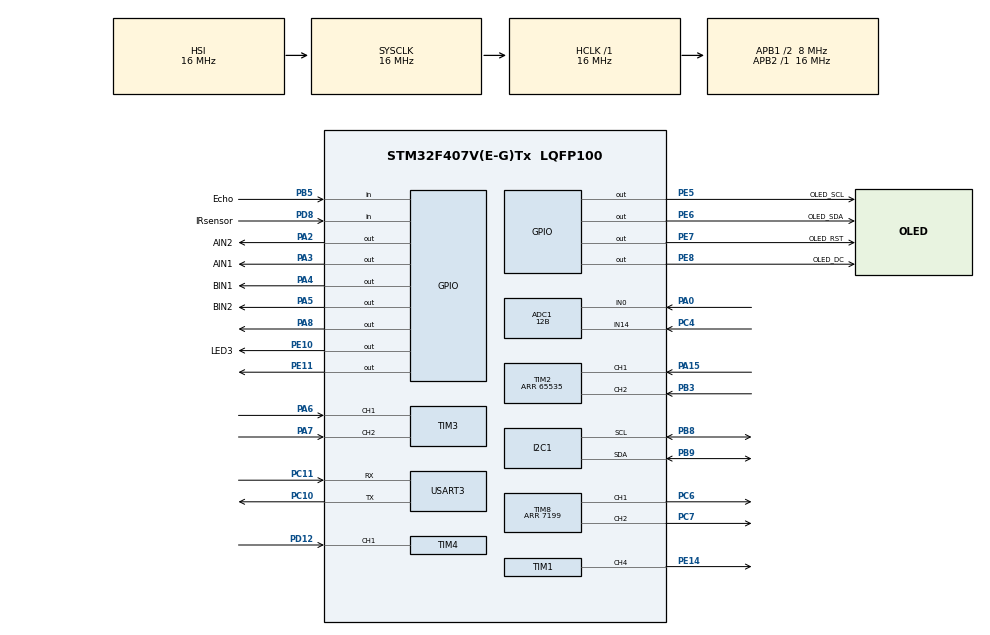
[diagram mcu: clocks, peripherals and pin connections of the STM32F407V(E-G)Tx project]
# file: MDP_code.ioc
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ADC1.Channel-0\#ChannelRegularConversion=ADC_CHANNEL_14
ADC1.ContinuousConvMode=DISABLE
ADC1.DMAContinuousRequests=DISABLE
ADC1.NbrOfConversionFlag=1
ADC1.Rank-0\#ChannelRegularConversion=1
ADC1.Resolution=ADC_RESOLUTION_12B
ADC1.SamplingTime-0\#ChannelRegularConversion=ADC_SAMPLETIME_3CYCLES
ADC1.master=1
Dma.ADC1.0.Direction=DMA_PERIPH_TO_MEMORY
Dma.ADC1.0.FIFOMode=DMA_FIFOMODE_DISABLE
Dma.ADC1.0.Instance=DMA2_Stream0
Dma.ADC1.0.MemDataAlignment=DMA_MDATAALIGN_HALFWORD
Dma.ADC1.0.MemInc=DMA_MINC_ENABLE
Dma.ADC1.0.Mode=DMA_CIRCULAR
Dma.ADC1.0.PeriphDataAlignment=DMA_PDATAALIGN_HALFWORD
Dma.ADC1.0.PeriphInc=DMA_PINC_DISABLE
Dma.ADC1.0.Priority=DMA_PRIORITY_LOW
Dma.Request0=ADC1
FREERTOS.Tasks01=defaultTask,24,128,StartDefaultTask,Default,NULL,Dynamic,NULL,NULL;EncoderTask,24,128,encoder_task,Default,NULL,Dynamic,NULL,NULL;MotorTask,24,128,motorTask,Default,NULL,Dynamic,NULL,NULL;GyroTask,24,128,gyroTask,Default,NULL,Dynamic,NULL,NULL;UltrasoundTask,24,128,ultrasoundTask,Default,NULL,Dynamic,NULL,NULL
I2C1.I2C_Mode=I2C_Standard
I2C1.OwnAddress=0
Mcu.Family=STM32F4
Mcu.Name=STM32F407V(E-G)Tx
Mcu.Package=LQFP100
NVIC.DMA2_Stream0_IRQn=true\:5\:0\:false\:false\:true\:true\:false\:true\:true
NVIC.PriorityGroup=NVIC_PRIORITYGROUP_4
NVIC.TIM1_UP_TIM10_IRQn=true\:5\:0\:false\:false\:true\:false\:false\:true\:true
NVIC.TIM4_IRQn=true\:5\:0\:false\:false\:true\:true\:true\:true\:true
NVIC.TIM6_DAC_IRQn=true\:15\:0\:false\:false\:true\:false\:false\:true\:true
NVIC.TimeBase=TIM6_DAC_IRQn
NVIC.TimeBaseIP=TIM6
NVIC.USART3_IRQn=true\:5\:0\:false\:false\:true\:true\:true\:true\:true
PA0-WKUP.Signal=ADCx_IN0
PA15.Signal=S_TIM2_CH1_ETR
PA2.GPIO_Label=AIN2
PA2.GPIO_Speed=GPIO_SPEED_FREQ_HIGH
PA2.Signal=GPIO_Output
PA3.GPIO_Label=AIN1
PA3.GPIO_Speed=GPIO_SPEED_FREQ_HIGH
PA3.Signal=GPIO_Output
PA4.GPIO_Label=BIN1
PA4.GPIO_Speed=GPIO_SPEED_FREQ_HIGH
PA4.Signal=GPIO_Output
PA5.GPIO_Label=BIN2
PA5.GPIO_Speed=GPIO_SPEED_FREQ_HIGH
PA5.Signal=GPIO_Output
PA6.Signal=S_TIM3_CH1
PA7.Signal=S_TIM3_CH2
PA8.GPIO_Speed=GPIO_SPEED_FREQ_HIGH
PA8.Signal=GPIO_Output
PB3.Signal=S_TIM2_CH2
PB5.GPIO_Label=Echo
PB5.Signal=GPIO_Input
PB8.GPIO_Pu=GPIO_NOPULL
PB8.Mode=I2C
PB8.Signal=I2C1_SCL
PB9.GPIO_Pu=GPIO_NOPULL
PB9.Mode=I2C
PB9.Signal=I2C1_SDA
PC10.Mode=Asynchronous
PC10.Signal=USART3_TX
PC11.Mode=Asynchronous
PC11.Signal=USART3_RX
PC4.Signal=ADCx_IN14
PC6.Signal=S_TIM8_CH1
PC7.Signal=S_TIM8_CH2
PD12.Signal=S_TIM4_CH1
PD14.Signal=S_TIM4_CH3
PD8.GPIO_Label=IRsensor
PD8.Signal=GPIO_Input
PE10.GPIO_Label=LED3
PE10.Signal=GPIO_Output
PE11.GPIO_Speed=GPIO_SPEED_FREQ_VERY_HIGH
PE11.Signal=GPIO_Output
PE14.GPIO_Speed=GPIO_SPEED_FREQ_VERY_HIGH
PE14.Signal=S_TIM1_CH4
PE5.GPIO_Label=OLED_SCL
PE5.Signal=GPIO_Output
PE6.GPIO_Label=OLED_SDA
PE6.Signal=GPIO_Output
PE7.GPIO_Label=OLED_RST
PE7.Signal=GPIO_Output
PE8.GPIO_Label=OLED_DC
PE8.Signal=GPIO_Output
PH0-OSC_IN.Mode=HSE-External-Oscillator
PH0-OSC_IN.Signal=RCC_OSC_IN
PH1-OSC_OUT.Mode=HSE-External-Oscillator
PH1-OSC_OUT.Signal=RCC_OSC_OUT
ProjectManager.HeapSize=0x200
ProjectManager.StackSize=0x400
ProjectManager.TargetToolchain=STM32CubeIDE
RCC.48MHZClocksFreq_Value=36000000
RCC.AHBFreq_Value=16000000
RCC.APB1CLKDivider=RCC_HCLK_DIV2
RCC.APB1Freq_Value=8000000
RCC.APB1TimFreq_Value=16000000
RCC.APB2Freq_Value=16000000
RCC.APB2TimFreq_Value=16000000
RCC.CortexFreq_Value=16000000
RCC.FLatency-AdvancedSettings=FLASH_LATENCY_0
RCC.HCLKFreq_Value=16000000
RCC.HSE_VALUE=8000000
RCC.HSI_VALUE=16000000
RCC.LSE_VALUE=32768
RCC.PLLM=8
RCC.PLLN=72
RCC.SYSCLKFreq_VALUE=16000000
RCC.VCOOutputFreq_Value=144000000
SH.ADCx_IN0.0=ADC1_IN0,IN0
SH.ADCx_IN14.0=ADC1_IN14,IN14
SH.S_TIM1_CH4.0=TIM1_CH4,PWM Generation4 CH4
SH.S_TIM2_CH1_ETR.0=TIM2_CH1,Encoder_Interface
SH.S_TIM2_CH2.0=TIM2_CH2,Encoder_Interface
SH.S_TIM3_CH1.0=TIM3_CH1,Encoder_Interface
SH.S_TIM3_CH2.0=TIM3_CH2,Encoder_Interface
SH.S_TIM4_CH1.0=TIM4_CH1,Input_Capture1_from_TI1
SH.S_TIM4_CH3.0=TIM4_CH3
SH.S_TIM8_CH1.0=TIM8_CH1,PWM Generation1 CH1
SH.S_TIM8_CH2.0=TIM8_CH2,PWM Generation2 CH2
TIM1.AutoReloadPreload=TIM_AUTORELOAD_PRELOAD_ENABLE
TIM1.Channel-PWM\ Generation4\ CH4=TIM_CHANNEL_4
TIM1.OCFastMode_PWM-PWM\ Generation4\ CH4=TIM_OCFAST_ENABLE
TIM1.Period=1000
TIM1.Prescaler=160
TIM2.EncoderMode=TIM_ENCODERMODE_TI12
TIM2.IC1Filter=0
TIM2.IC2Filter=0
TIM2.Period=65535
TIM3.EncoderMode=TIM_ENCODERMODE_TI12
TIM3.IC1Filter=0
TIM3.IC2Filter=0
TIM4.AutoReloadPreload=TIM_AUTORELOAD_PRELOAD_DISABLE
TIM4.Channel-Input_Capture1_from_TI1=TIM_CHANNEL_1
TIM4.Period=0xffff-1
TIM4.Prescaler=16-1
TIM8.Channel-PWM\ Generation1\ CH1=TIM_CHANNEL_1
TIM8.Channel-PWM\ Generation2\ CH2=TIM_CHANNEL_2
TIM8.Period=7199
USART3.VirtualMode=VM_ASYNC
VP_FREERTOS_VS_CMSIS_V2.Mode=CMSIS_V2
VP_SYS_VS_tim6.Mode=TIM6
VP_TIM1_VS_ClockSourceINT.Mode=Internal
VP_TIM4_VS_ClockSourceINT.Mode=Internal
VP_TIM8_VS_ClockSourceINT.Mode=Internal
board=custom

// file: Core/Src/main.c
/* USER CODE BEGIN Header */
/**
  ******************************************************************************
  * @file           : main.c
  * @brief          : Main program body
  ******************************************************************************
  * @attentiontdxdt6xdrd
  *
  * Copyright (c) 2022 STMicroelectronics.
  * All rights reserved.
  *
  * This software is licensed under terms that can be found in the LICENSE file
  * in the root directory of this software component.
  * If no LICENSE file comes with this software, it is provided AS-IS.
  *
  ******************************************************************************
  */
/* USER CODE END Header */
#include "main.h"
#include "cmsis_os.h"

/* USER CODE BEGIN Includes */
#include "oled.h"

/* USER CODE END Includes */

ADC_HandleTypeDef hadc1;
DMA_HandleTypeDef hdma_adc1;

I2C_HandleTypeDef hi2c1;

TIM_HandleTypeDef htim1;
TIM_HandleTypeDef htim2;
TIM_HandleTypeDef htim3;
TIM_HandleTypeDef htim4;
TIM_HandleTypeDef htim8;

UART_HandleTypeDef huart3;

/* Definitions for defaultTask */
osThreadId_t defaultTaskHandle;
const osThreadAttr_t defaultTask_attributes = {
  .name = "defaultTask",
  .stack_size = 128 * 4,
  .priority = (osPriority_t) osPriorityNormal,
};
/* Definitions for EncoderTask */
osThreadId_t EncoderTaskHandle;
const osThreadAttr_t EncoderTask_attributes = {
  .name = "EncoderTask",
  .stack_size = 128 * 4,
  .priority = (osPriority_t) osPriorityNormal,
};
/* Definitions for MotorTask */
osThreadId_t MotorTaskHandle;
const osThreadAttr_t MotorTask_attributes = {
  .name = "MotorTask",
  .stack_size = 128 * 4,
  .priority = (osPriority_t) osPriorityNormal,
};
/* Definitions for GyroTask */
osThreadId_t GyroTaskHandle;
const osThreadAttr_t GyroTask_attributes = {
  .name = "GyroTask",
  .stack_size = 128 * 4,
  .priority = (osPriority_t) osPriorityNormal,
};
/* Definitions for UltrasoundTask */
osThreadId_t UltrasoundTaskHandle;
const osThreadAttr_t UltrasoundTask_attributes = {
  .name = "UltrasoundTask",
  .stack_size = 128 * 4,
  .priority = (osPriority_t) osPriorityNormal,
};

void SystemClock_Config(void);
static void MX_GPIO_Init(void);
static void MX_TIM8_Init(void);
static void MX_TIM2_Init(void);
static void MX_TIM1_Init(void);
static void MX_USART3_UART_Init(void);
static void MX_TIM3_Init(void);
static void MX_TIM4_Init(void);
static void MX_I2C1_Init(void);
static void MX_DMA_Init(void);
static void MX_ADC1_Init(void);
void StartDefaultTask(void *argument);
void encoder_task(void *argument);
void motorTask(void *argument);
void gyroTask(void *argument);
void ultrasoundTask(void *argument);

/* USER CODE BEGIN 0 */
int dir = 1;
uint8_t aRxBuffer[20];
int turnFinished = 1;
uint8_t buff[20];
uint8_t ICMAddr = 0x68;
int motorOnA = 0;
int motorOnB = 0;
double speedA = 0;
double speedB = 0;
int progress = 10;
int flag = 0;
uint16_t lengthFront[4096];
uint16_t lengthSide[4096];
int32_t distanceFront = 0;
int32_t distanceSide = 0;
uint8_t hello[40];
uint8_t bye[40];
uint8_t yay[40];

int total_distancea = 0;
int total_distanceb = 0;
int SPEED = 3000;
int count = 0;
int turnSPEED = 2000;
//int turnSpeed = 100;
double total_angle = 0;
double global_angle = 0;
int turnDir;
uint32_t ir1;
int ir1_dist;
uint8_t us_dist = 0;
uint8_t us_dist_obst = 0;
int travel = 0;

void motorStop(){

	motorOnA = 0;
	motorOnB = 0;

}

void motorBStop(){

	HAL_TIM_PWM_Stop(&htim8, TIM_CHANNEL_2);
}

void motorAStart(){

	HAL_TIM_PWM_Start(&htim8, TIM_CHANNEL_1);

}

void motorBStart(){
	HAL_TIM_PWM_Start(&htim8, TIM_CHANNEL_2);
}

void motorAForward(){

	HAL_GPIO_WritePin(GPIOA, AIN2_Pin, GPIO_PIN_RESET);
	HAL_GPIO_WritePin(GPIOA, AIN1_Pin, GPIO_PIN_SET);

}
void motorAReverse(){

	HAL_GPIO_WritePin(GPIOA, AIN2_Pin, GPIO_PIN_SET);
	HAL_GPIO_WritePin(GPIOA, AIN1_Pin, GPIO_PIN_RESET);
}
void motorBForward(){

	HAL_GPIO_WritePin(GPIOA, BIN2_Pin, GPIO_PIN_RESET);
	HAL_GPIO_WritePin(GPIOA, BIN1_Pin, GPIO_PIN_SET);
}
void motorBReverse(){

	HAL_GPIO_WritePin(GPIOA, BIN2_Pin, GPIO_PIN_SET);
	HAL_GPIO_WritePin(GPIOA, BIN1_Pin, GPIO_PIN_RESET);
}

//void correctDirection(double target_angle){
//	double Aint = 0;
//	int pidVal;
//
//	//
//	pidVal = (int)(150 + ((total_angle - target_angle)*2.0 + 0.8*Aint));
//	if(pidVal <= 100){
//	pidVal = 100;
//	}
//
//	if(pidVal >= 200){
//		pidVal = 200;
//	}
//	Aint += total_angle - target_angle;
////	htim1.Instance -> CCR4 = 150;
////	osDelayUntil(10);
//	htim1.Instance -> CCR4 = pidVal;
//
//
//
//
//}

void readByte(uint8_t addr, uint8_t* data){
	buff[0] = addr;
	HAL_I2C_Master_Transmit(&hi2c1, ICMAddr<<1, buff, 1, 10);
	HAL_I2C_Master_Receive(&hi2c1, ICMAddr<<1, data, 2, 20);

}

void writeByte(uint8_t addr, uint8_t data){
	buff[0] = addr;
	buff[1] = data;
	HAL_I2C_Master_Transmit(&hi2c1, ICMAddr << 1, buff, 2, 20);
}

void gyroStart(){
	writeByte(0x07, 0x07);
	osDelayUntil(10);

	writeByte(0x07, 0x00);
	osDelayUntil(10);

}

void gyroInit(){

	writeByte(0x06, 0x00);
		osDelayUntil(10);
		writeByte(0x03, 0x80);
		osDelayUntil(10);
		writeByte(0x07, 0x07);
		osDelayUntil(10);
		writeByte(0x06, 0x01);
		osDelayUntil(10);
		writeByte(0x7F, 0x20);
		osDelayUntil(10);
		writeByte(0x01, 0x2F);
		osDelayUntil(10);
		writeByte(0x0, 0x00);
		osDelayUntil(10);
		writeByte(0x7F, 0x00);
		osDelayUntil(10);
		writeByte(0x07, 0x00);
		osDelayUntil(10);

}

double abs(double a, double b){
	if(a - b < 0){
		return -1*(a-b);
	} else {
		return a-b;
	}
}

void motorForwardA(int target_distance, int condition){

	// WITH IR STOPPING CONDITION

	dir = 1;
	htim1.Instance -> CCR4 = 148;

	double encoder_count = 1560.0;

    total_angle = 0;
    if (target_distance==101)
    {
    	motorOnA = 4000*dir;
    	motorOnB = motorOnA;
    }
    else{
    	motorOnA = SPEED*dir;
    	motorOnB = motorOnA;
    }

			while(1){
					/*
				osDelayUntil(10);
				if(dirA == 1){
				pidVal = (int)(150 + (total_angle*10 + 0.00*Aint));

				} else if(dirA == -1) {
					pidVal = (int)(150 - (total_angle*10 + 0.00*Aint));

				}
				if(pidVal <= 140){
					pidVal = 140;
				}

				if(pidVal >= 165){
					pidVal = 165;
				}
				htim1.Instance -> CCR4 = 150;
				osDelayUntil(10);
				htim1.Instance -> CCR4 = pidVal;
				osDelayUntil(10);
				Aint += total_angle;*/

				if(((total_distancea+total_distanceb)) >= 2*((target_distance)/21.04f)*encoder_count || (us_dist < 32 || ir1_dist < 20)){
					motorStop();
					if (condition==1){
						travel = 2*((target_distance)/21.04f)*encoder_count - ((total_distancea+total_distanceb));
						travel = target_distance - ((travel/3120.0)*21.04);
					}
					break;
				}

			}

				/*while(total_distancea + total_distanceb > 2*(target_distance/21.04)*encoder_count){
									motorOnA = -1000*dir;
									motorOnB = -1000*dir;
									osDelayUntil(10);
				}
				motorStop();
				*/
			total_distancea = 0;
			total_distanceb = 0;
			htim1.Instance -> CCR4 = 150;
}

void motorForwardB(int target_distance, int dirA){

	// NO IR STOPPING CONDITION

	dir = dirA;
	htim1.Instance -> CCR4 = 150;

	double encoder_count = 0;
	if(dir == 1){
		encoder_count = 1560.0;
	} else if(dir == -1) {
		encoder_count = 1560.0;
	}

    int pidVal;

    total_angle = 0;
    double Aint = 0;
    if (target_distance==21){
    	motorOnA = 1500*dir;
    	motorOnB = motorOnA;
    }
    else{
    	motorOnA = (SPEED + 500)*dir;
    	motorOnB = motorOnA;
    }

				while(1){
				osDelayUntil(10);
				if(dirA == 1){
				pidVal = (int)(150 + (total_angle*10 + 0.00*Aint));

				} else if(dirA == -1) {
					pidVal = (int)(150 - (total_angle*10 + 0.00*Aint));

				}
				if(pidVal <= 140){
					pidVal = 140;
				}

				if(pidVal >= 165){
					pidVal = 165;
				}
				htim1.Instance -> CCR4 = 150;
				osDelayUntil(10);
				htim1.Instance -> CCR4 = pidVal;
				osDelayUntil(10);
				Aint += total_angle;

				if(((total_distancea+total_distanceb)) >= 2*((target_distance)/21.04f)*encoder_count){
					motorStop();
					break;
				}

				}

				/*while(total_distancea + total_distanceb > 2*(target_distance/21.04)*encoder_count){
									motorOnA = -1000*dir;
									motorOnB = -1000*dir;
									osDelayUntil(10);
				}*/
				motorStop();
				total_distancea = 0;
				total_distanceb = 0;
				htim1.Instance -> CCR4 = 150;
}

void motorRight(int target_angle){

		htim1.Instance -> CCR4 = 255;
		//gyroStart();

		osDelay(500);
		//gyroStart();

		turnDir = -1;
		total_angle =  0;
		motorOnA = turnSPEED;
		motorOnB = motorOnA;
		while(total_angle > -1*target_angle){
			osDelayUntil(10);
		}

		motorStop();

		double Aint = 0;

		/*
		while((int)total_angle < (-1*target_angle)){
			motorOnA = (int)(200*(total_angle + target_angle) + 0.1*Aint);
			motorOnB = motorOnA;
			Aint += total_angle + target_angle;

			osDelayUntil(10);
		}
		motorStop();
		*/
		total_distancea = 0;
		total_distanceb = 0;

		htim1.Instance -> CCR4 = 150;
		osDelay(200);

}

void motorLeft(int target_angle){

		htim1.Instance -> CCR4 =  105;
		//gyroStart();

		osDelay(500);
		//gyroStart();

        turnDir = 1;
		total_angle = 0;

		motorOnB = turnSPEED;
		motorOnA = motorOnB;
		double Aint = 0;

		while(total_angle < target_angle){
			osDelayUntil(10);
		}

		motorStop();

				/*
				while((int)total_angle > target_angle){
					//motorOnA = -500*(total_angle - target_angle);
					motorOnB = ((int)(200*(total_angle - target_angle) + 0.1*Aint))*-1;

					motorOnA = motorOnB;
					Aint += total_angle - target_angle;

					osDelayUntil(10);
				}

				motorStop();
				*/

		total_distancea = 0;
		total_distanceb = 0;

		htim1.Instance -> CCR4 =  150;
		osDelay(200);

}

void motorRightB(int target_angle){

		htim1.Instance -> CCR4 = 260;
		//gyroStart();

		osDelay(500);
		//gyroStart();

		turnDir = -1;
		total_angle =  0;
		motorOnA = 2500;
		motorOnB = 500;
//		motorOnA = 2400;
//		motorOnB = 400;

		while(total_angle > -1*target_angle){
			osDelayUntil(10);
		}

		motorStop();

		double Aint = 0;

		/*
		while((int)total_angle < (-1*target_angle)){
			motorOnA = (int)(200*(total_angle + target_angle) + 0.1*Aint);
			motorOnB = motorOnA;
			Aint += total_angle + target_angle;

			osDelayUntil(10);
		}
		motorStop();
		*/
		total_distancea = 0;
		total_distanceb = 0;

		htim1.Instance -> CCR4 = 150;
		osDelay(200);

}

void motorLeftB(int target_angle){

		htim1.Instance -> CCR4 =  100;
		//gyroStart();

		osDelay(500);
		//gyroStart();

        turnDir = 1;
		total_angle = 0;

		motorOnB = 2500;
		motorOnA = 500;
//		motorOnA = 2400;
//		motorOnB = 400;

		double Aint = 0;

		while(total_angle < target_angle){
			osDelayUntil(10);
		}

		motorStop();

				/*
				while((int)total_angle > target_angle){
					//motorOnA = -500*(total_angle - target_angle);
					motorOnB = ((int)(200*(total_angle - target_angle) + 0.1*Aint))*-1;

					motorOnA = motorOnB;
					Aint += total_angle - target_angle;

					osDelayUntil(10);
				}

				motorStop();
				*/

		total_distancea = 0;
		total_distanceb = 0;

		htim1.Instance -> CCR4 =  150;
		osDelay(200);

}

void motorRightC(int target_angle){

        //motorOnA = 6000;
		htim1.Instance -> CCR4 = 235;
		//gyroStart();

		osDelay(500);
		//gyroStart();

		turnDir = -1;
		total_angle =  0;
		motorOnA = 4500;
		motorOnB = motorOnA;
	while(total_angle > -1*target_angle){
			osDelayUntil(10);
		}

		motorStop();

		double Aint = 0;

		while((int)total_angle < (-1*target_angle)){
			motorOnA = (int)(200*(total_angle + target_angle) + 0.1*Aint);
			motorOnB = motorOnA;
			Aint += total_angle + target_angle;

			osDelayUntil(10);
		}
		motorStop();
		total_distancea = 0;
		total_distanceb = 0;

			htim1.Instance -> CCR4 = 149;
			osDelay(500);

}
void motorLeftC(int target_angle){

		htim1.Instance -> CCR4 =  95;
		//gyroStart();

		osDelay(500);
		//gyroStart();

        turnDir = 1;
		total_angle = 0;

		motorOnB = 4500;
		motorOnA = motorOnB;
		double Aint = 0;

		while(total_angle < target_angle){
					osDelayUntil(10);
				}

				motorStop();

				while((int)total_angle > target_angle){
					//motorOnA = -500*(total_angle - target_angle);
					motorOnB = ((int)(200*(total_angle - target_angle) + 0.1*Aint))*-1;

					motorOnA = motorOnB;
					Aint += total_angle - target_angle;

					osDelayUntil(10);
				}
				motorStop();
				total_distancea = 0;
						total_distanceb = 0;

				htim1.Instance -> CCR4 =  149;
				osDelay(500);

}

void backRight(int target_angle){

		htim1.Instance -> CCR4 = 260;
		//gyroStart();

		osDelay(500);
		//gyroStart();
		turnDir = 1;
		total_angle = 0;
		motorOnA = -1*turnSPEED;
		motorOnB = motorOnA;
		double Aint = 0;

		while(total_angle < target_angle){
					osDelayUntil(10);
				}

				motorStop();

				/*
				while((int)total_angle > target_angle){
					//motorOnA = 500*(total_angle - target_angle);

					motorOnA = ((int)(200*(total_angle - target_angle) + 0.1*Aint));
					Aint += total_angle -  target_angle;
					motorOnB = motorOnA;

					osDelayUntil(10);
				}
				motorStop();
				*/
				total_distancea = 0;
				total_distanceb = 0;

				htim1.Instance -> CCR4 = 150;
				osDelay(200);

}
void backLeft(int target_angle){

		htim1.Instance -> CCR4 =  100;
		//gyroStart();

		osDelay(500);
		//gyroStart();

		turnDir = -1;
		total_angle = 0;
		motorOnB = -1*turnSPEED;
		motorOnA = motorOnB;
		double Aint = 0;

		while(total_angle > -1*target_angle){
					osDelayUntil(10);
				}

				motorStop();

				/*
				while((int)total_angle < (-1*target_angle)){
					//motorOnB = -500*(total_angle + target_angle);

					motorOnB = -1*((int)(200*(total_angle + target_angle) + 0.1*Aint));
					motorOnA = motorOnB;

					Aint += total_angle + target_angle;

					osDelayUntil(10);
				}
				motorStop();
				*/
				total_distancea = 0;
						total_distanceb = 0;

				htim1.Instance -> CCR4 = 150;
				osDelay(200);

}

void motorBack(int target_distance){

		htim1.Instance -> CCR4 = 150;
		osDelayUntil(200);
		motorForwardB(target_distance, -1);

}

void motorBackA(int target){

	int disto = 100;
	dir = -1;
	htim1.Instance -> CCR4 = 150;
	osDelayUntil(200);
	double encoder_count = 1560.0;

    total_angle = 0;
    double Aint = 0;
	motorOnA = 800*dir;
	motorOnB = motorOnA;

	while(1){
					/*
				osDelayUntil(10);
				if(dirA == 1){
				pidVal = (int)(150 + (total_angle*10 + 0.00*Aint));

				} else if(dirA == -1) {
					pidVal = (int)(150 - (total_angle*10 + 0.00*Aint));

				}
				if(pidVal <= 140){
					pidVal = 140;
				}

				if(pidVal >= 165){
					pidVal = 165;
				}
				htim1.Instance -> CCR4 = 150;
				osDelayUntil(10);
				htim1.Instance -> CCR4 = pidVal;
				osDelayUntil(10);
				Aint += total_angle;*/

				if(((total_distancea+total_distanceb)) >= 2*((disto)/21.04f)*encoder_count || (us_dist > target && ir1_dist > 15)){
					motorStop();
					break;
					}

				}

				/*while(total_distancea + total_distanceb > 2*(target_distance/21.04)*encoder_count){
									motorOnA = -1000*dir;
									motorOnB = -1000*dir;
									osDelayUntil(10);
				}
				motorStop();
				*/
				total_distancea = 0;
				total_distanceb = 0;
				htim1.Instance -> CCR4 = 150;
}

/* USER CODE END 0 */

int main(void)
{

  /* MCU Configuration--------------------------------------------------------*/

  /* Reset of all peripherals, Initializes the Flash interface and the Systick. */
  HAL_Init();

  /* Configure the system clock */
  SystemClock_Config();

  /* Initialize all configured peripherals */
  MX_GPIO_Init();
  MX_TIM8_Init();
  MX_TIM2_Init();
  MX_TIM1_Init();
  MX_USART3_UART_Init();
  MX_TIM3_Init();
  MX_TIM4_Init();
  MX_I2C1_Init();
  MX_DMA_Init();
  MX_ADC1_Init();
  /* USER CODE BEGIN 2 */

  HAL_TIM_IC_Start(&htim4, TIM_CHANNEL_1);

  OLED_Init();

  HAL_TIM_Encoder_Start(&htim2, TIM_CHANNEL_ALL);
  	HAL_TIM_Encoder_Start(&htim3, TIM_CHANNEL_ALL);

  			HAL_TIM_PWM_Start(&htim8, TIM_CHANNEL_1);

  			HAL_TIM_PWM_Start(&htim8, TIM_CHANNEL_2);

  			HAL_TIM_PWM_Start(&htim1, TIM_CHANNEL_4);

  HAL_UART_Receive_IT(&huart3, (uint8_t *) aRxBuffer, 4);

  /* USER CODE END 2 */

  /* Init scheduler */
  osKernelInitialize();

  /* Create the thread(s) */
  /* creation of defaultTask */
  defaultTaskHandle = osThreadNew(StartDefaultTask, NULL, &defaultTask_attributes);

  /* creation of EncoderTask */
  EncoderTaskHandle = osThreadNew(encoder_task, NULL, &EncoderTask_attributes);

  /* creation of MotorTask */
  MotorTaskHandle = osThreadNew(motorTask, NULL, &MotorTask_attributes);

  /* creation of GyroTask */
  GyroTaskHandle = osThreadNew(gyroTask, NULL, &GyroTask_attributes);

  /* creation of UltrasoundTask */
  UltrasoundTaskHandle = osThreadNew(ultrasoundTask, NULL, &UltrasoundTask_attributes);

  /* Start scheduler */
  osKernelStart();

  /* We should never get here as control is now taken by the scheduler */
  /* Infinite loop */
  while (1)
  {

  }
}

void SystemClock_Config(void)
{
  RCC_OscInitTypeDef RCC_OscInitStruct = {0};
  RCC_ClkInitTypeDef RCC_ClkInitStruct = {0};

  /** Configure the main internal regulator output voltage
  */
  __HAL_RCC_PWR_CLK_ENABLE();
  __HAL_PWR_VOLTAGESCALING_CONFIG(PWR_REGULATOR_VOLTAGE_SCALE1);
  /** Initializes the RCC Oscillators according to the specified parameters
  * in the RCC_OscInitTypeDef structure.
  */
  RCC_OscInitStruct.OscillatorType = RCC_OSCILLATORTYPE_HSI;
  RCC_OscInitStruct.HSIState = RCC_HSI_ON;
  RCC_OscInitStruct.HSICalibrationValue = RCC_HSICALIBRATION_DEFAULT;
  RCC_OscInitStruct.PLL.PLLState = RCC_PLL_NONE;
  if (HAL_RCC_OscConfig(&RCC_OscInitStruct) != HAL_OK)
  {
    Error_Handler();
  }
  /** Initializes the CPU, AHB and APB buses clocks
  */
  RCC_ClkInitStruct.ClockType = RCC_CLOCKTYPE_HCLK|RCC_CLOCKTYPE_SYSCLK
                              |RCC_CLOCKTYPE_PCLK1|RCC_CLOCKTYPE_PCLK2;
  RCC_ClkInitStruct.SYSCLKSource = RCC_SYSCLKSOURCE_HSI;
  RCC_ClkInitStruct.AHBCLKDivider = RCC_SYSCLK_DIV1;
  RCC_ClkInitStruct.APB1CLKDivider = RCC_HCLK_DIV2;
  RCC_ClkInitStruct.APB2CLKDivider = RCC_HCLK_DIV1;

  if (HAL_RCC_ClockConfig(&RCC_ClkInitStruct, FLASH_LATENCY_0) != HAL_OK)
  {
    Error_Handler();
  }
}

static void MX_ADC1_Init(void)
{

  ADC_ChannelConfTypeDef sConfig = {0};

  /** Configure the global features of the ADC (Clock, Resolution, Data Alignment and number of conversion)
  */
  hadc1.Instance = ADC1;
  hadc1.Init.ClockPrescaler = ADC_CLOCK_SYNC_PCLK_DIV2;
  hadc1.Init.Resolution = ADC_RESOLUTION_12B;
  hadc1.Init.ScanConvMode = DISABLE;
  hadc1.Init.ContinuousConvMode = DISABLE;
  hadc1.Init.DiscontinuousConvMode = DISABLE;
  hadc1.Init.ExternalTrigConvEdge = ADC_EXTERNALTRIGCONVEDGE_NONE;
  hadc1.Init.ExternalTrigConv = ADC_SOFTWARE_START;
  hadc1.Init.DataAlign = ADC_DATAALIGN_RIGHT;
  hadc1.Init.NbrOfConversion = 1;
  hadc1.Init.DMAContinuousRequests = DISABLE;
  hadc1.Init.EOCSelection = ADC_EOC_SINGLE_CONV;
  if (HAL_ADC_Init(&hadc1) != HAL_OK)
  {
    Error_Handler();
  }
  /** Configure for the selected ADC regular channel its corresponding rank in the sequencer and its sample time.
  */
  sConfig.Channel = ADC_CHANNEL_0;
  sConfig.Rank = 1;
  sConfig.SamplingTime = ADC_SAMPLETIME_3CYCLES;
  if (HAL_ADC_ConfigChannel(&hadc1, &sConfig) != HAL_OK)
  {
    Error_Handler();
  }

}

static void MX_I2C1_Init(void)
{

  hi2c1.Instance = I2C1;
  hi2c1.Init.ClockSpeed = 100000;
  hi2c1.Init.DutyCycle = I2C_DUTYCYCLE_2;
  hi2c1.Init.OwnAddress1 = 0;
  hi2c1.Init.AddressingMode = I2C_ADDRESSINGMODE_7BIT;
  hi2c1.Init.DualAddressMode = I2C_DUALADDRESS_DISABLE;
  hi2c1.Init.OwnAddress2 = 0;
  hi2c1.Init.GeneralCallMode = I2C_GENERALCALL_DISABLE;
  hi2c1.Init.NoStretchMode = I2C_NOSTRETCH_DISABLE;
  if (HAL_I2C_Init(&hi2c1) != HAL_OK)
  {
    Error_Handler();
  }

}

static void MX_TIM1_Init(void)
{

  TIM_ClockConfigTypeDef sClockSourceConfig = {0};
  TIM_MasterConfigTypeDef sMasterConfig = {0};
  TIM_OC_InitTypeDef sConfigOC = {0};
  TIM_BreakDeadTimeConfigTypeDef sBreakDeadTimeConfig = {0};

  htim1.Instance = TIM1;
  htim1.Init.Prescaler = 160;
  htim1.Init.CounterMode = TIM_COUNTERMODE_UP;
  htim1.Init.Period = 1000;
  htim1.Init.ClockDivision = TIM_CLOCKDIVISION_DIV1;
  htim1.Init.RepetitionCounter = 0;
  htim1.Init.AutoReloadPreload = TIM_AUTORELOAD_PRELOAD_ENABLE;
  if (HAL_TIM_Base_Init(&htim1) != HAL_OK)
  {
    Error_Handler();
  }
  sClockSourceConfig.ClockSource = TIM_CLOCKSOURCE_INTERNAL;
  if (HAL_TIM_ConfigClockSource(&htim1, &sClockSourceConfig) != HAL_OK)
  {
    Error_Handler();
  }
  if (HAL_TIM_PWM_Init(&htim1) != HAL_OK)
  {
    Error_Handler();
  }
  sMasterConfig.MasterOutputTrigger = TIM_TRGO_RESET;
  sMasterConfig.MasterSlaveMode = TIM_MASTERSLAVEMODE_DISABLE;
  if (HAL_TIMEx_MasterConfigSynchronization(&htim1, &sMasterConfig) != HAL_OK)
  {
    Error_Handler();
  }
  sConfigOC.OCMode = TIM_OCMODE_PWM1;
  sConfigOC.Pulse = 0;
  sConfigOC.OCPolarity = TIM_OCPOLARITY_HIGH;
  sConfigOC.OCFastMode = TIM_OCFAST_ENABLE;
  sConfigOC.OCIdleState = TIM_OCIDLESTATE_RESET;
  sConfigOC.OCNIdleState = TIM_OCNIDLESTATE_RESET;
  if (HAL_TIM_PWM_ConfigChannel(&htim1, &sConfigOC, TIM_CHANNEL_4) != HAL_OK)
  {
    Error_Handler();
  }
  sBreakDeadTimeConfig.OffStateRunMode = TIM_OSSR_DISABLE;
  sBreakDeadTimeConfig.OffStateIDLEMode = TIM_OSSI_DISABLE;
  sBreakDeadTimeConfig.LockLevel = TIM_LOCKLEVEL_OFF;
  sBreakDeadTimeConfig.DeadTime = 0;
  sBreakDeadTimeConfig.BreakState = TIM_BREAK_DISABLE;
  sBreakDeadTimeConfig.BreakPolarity = TIM_BREAKPOLARITY_HIGH;
  sBreakDeadTimeConfig.AutomaticOutput = TIM_AUTOMATICOUTPUT_DISABLE;
  if (HAL_TIMEx_ConfigBreakDeadTime(&htim1, &sBreakDeadTimeConfig) != HAL_OK)
  {
    Error_Handler();
  }
  HAL_TIM_MspPostInit(&htim1);

}

static void MX_TIM2_Init(void)
{

  TIM_Encoder_InitTypeDef sConfig = {0};
  TIM_MasterConfigTypeDef sMasterConfig = {0};

  htim2.Instance = TIM2;
  htim2.Init.Prescaler = 0;
  htim2.Init.CounterMode = TIM_COUNTERMODE_UP;
  htim2.Init.Period = 65535;
  htim2.Init.ClockDivision = TIM_CLOCKDIVISION_DIV1;
  htim2.Init.AutoReloadPreload = TIM_AUTORELOAD_PRELOAD_DISABLE;
  sConfig.EncoderMode = TIM_ENCODERMODE_TI12;
  sConfig.IC1Polarity = TIM_ICPOLARITY_RISING;
  sConfig.IC1Selection = TIM_ICSELECTION_DIRECTTI;
  sConfig.IC1Prescaler = TIM_ICPSC_DIV1;
  sConfig.IC1Filter = 0;
  sConfig.IC2Polarity = TIM_ICPOLARITY_RISING;
  sConfig.IC2Selection = TIM_ICSELECTION_DIRECTTI;
  sConfig.IC2Prescaler = TIM_ICPSC_DIV1;
  sConfig.IC2Filter = 0;
  if (HAL_TIM_Encoder_Init(&htim2, &sConfig) != HAL_OK)
  {
    Error_Handler();
  }
  sMasterConfig.MasterOutputTrigger = TIM_TRGO_RESET;
  sMasterConfig.MasterSlaveMode = TIM_MASTERSLAVEMODE_DISABLE;
  if (HAL_TIMEx_MasterConfigSynchronization(&htim2, &sMasterConfig) != HAL_OK)
  {
    Error_Handler();
  }

}

static void MX_TIM3_Init(void)
{

  TIM_Encoder_InitTypeDef sConfig = {0};
  TIM_MasterConfigTypeDef sMasterConfig = {0};

  htim3.Instance = TIM3;
  htim3.Init.Prescaler = 0;
  htim3.Init.CounterMode = TIM_COUNTERMODE_UP;
  htim3.Init.Period = 65535;
  htim3.Init.ClockDivision = TIM_CLOCKDIVISION_DIV1;
  htim3.Init.AutoReloadPreload = TIM_AUTORELOAD_PRELOAD_DISABLE;
  sConfig.EncoderMode = TIM_ENCODERMODE_TI12;
  sConfig.IC1Polarity = TIM_ICPOLARITY_RISING;
  sConfig.IC1Selection = TIM_ICSELECTION_DIRECTTI;
  sConfig.IC1Prescaler = TIM_ICPSC_DIV1;
  sConfig.IC1Filter = 0;
  sConfig.IC2Polarity = TIM_ICPOLARITY_RISING;
  sConfig.IC2Selection = TIM_ICSELECTION_DIRECTTI;
  sConfig.IC2Prescaler = TIM_ICPSC_DIV1;
  sConfig.IC2Filter = 0;
  if (HAL_TIM_Encoder_Init(&htim3, &sConfig) != HAL_OK)
  {
    Error_Handler();
  }
  sMasterConfig.MasterOutputTrigger = TIM_TRGO_RESET;
  sMasterConfig.MasterSlaveMode = TIM_MASTERSLAVEMODE_DISABLE;
  if (HAL_TIMEx_MasterConfigSynchronization(&htim3, &sMasterConfig) != HAL_OK)
  {
    Error_Handler();
  }

}

static void MX_TIM4_Init(void)
{

  TIM_ClockConfigTypeDef sClockSourceConfig = {0};
  TIM_MasterConfigTypeDef sMasterConfig = {0};
  TIM_IC_InitTypeDef sConfigIC = {0};

  htim4.Instance = TIM4;
  htim4.Init.Prescaler = 16-1;
  htim4.Init.CounterMode = TIM_COUNTERMODE_UP;
  htim4.Init.Period = 0xffff-1;
  htim4.Init.ClockDivision = TIM_CLOCKDIVISION_DIV1;
  htim4.Init.AutoReloadPreload = TIM_AUTORELOAD_PRELOAD_DISABLE;
  if (HAL_TIM_Base_Init(&htim4) != HAL_OK)
  {
    Error_Handler();
  }
  sClockSourceConfig.ClockSource = TIM_CLOCKSOURCE_INTERNAL;
  if (HAL_TIM_ConfigClockSource(&htim4, &sClockSourceConfig) != HAL_OK)
  {
    Error_Handler();
  }
  if (HAL_TIM_IC_Init(&htim4) != HAL_OK)
  {
    Error_Handler();
  }
  sMasterConfig.MasterOutputTrigger = TIM_TRGO_RESET;
  sMasterConfig.MasterSlaveMode = TIM_MASTERSLAVEMODE_DISABLE;
  if (HAL_TIMEx_MasterConfigSynchronization(&htim4, &sMasterConfig) != HAL_OK)
  {
    Error_Handler();
  }
  sConfigIC.ICPolarity = TIM_INPUTCHANNELPOLARITY_RISING;
  sConfigIC.ICSelection = TIM_ICSELECTION_DIRECTTI;
  sConfigIC.ICPrescaler = TIM_ICPSC_DIV1;
  sConfigIC.ICFilter = 0;
  if (HAL_TIM_IC_ConfigChannel(&htim4, &sConfigIC, TIM_CHANNEL_1) != HAL_OK)
  {
    Error_Handler();
  }

}

static void MX_TIM8_Init(void)
{

  TIM_ClockConfigTypeDef sClockSourceConfig = {0};
  TIM_MasterConfigTypeDef sMasterConfig = {0};
  TIM_OC_InitTypeDef sConfigOC = {0};
  TIM_BreakDeadTimeConfigTypeDef sBreakDeadTimeConfig = {0};

  htim8.Instance = TIM8;
  htim8.Init.Prescaler = 0;
  htim8.Init.CounterMode = TIM_COUNTERMODE_UP;
  htim8.Init.Period = 7199;
  htim8.Init.ClockDivision = TIM_CLOCKDIVISION_DIV1;
  htim8.Init.RepetitionCounter = 0;
  htim8.Init.AutoReloadPreload = TIM_AUTORELOAD_PRELOAD_DISABLE;
  if (HAL_TIM_Base_Init(&htim8) != HAL_OK)
  {
    Error_Handler();
  }
  sClockSourceConfig.ClockSource = TIM_CLOCKSOURCE_INTERNAL;
  if (HAL_TIM_ConfigClockSource(&htim8, &sClockSourceConfig) != HAL_OK)
  {
    Error_Handler();
  }
  if (HAL_TIM_PWM_Init(&htim8) != HAL_OK)
  {
    Error_Handler();
  }
  sMasterConfig.MasterOutputTrigger = TIM_TRGO_RESET;
  sMasterConfig.MasterSlaveMode = TIM_MASTERSLAVEMODE_DISABLE;
  if (HAL_TIMEx_MasterConfigSynchronization(&htim8, &sMasterConfig) != HAL_OK)
  {
    Error_Handler();
  }
  sConfigOC.OCMode = TIM_OCMODE_PWM1;
  sConfigOC.Pulse = 0;
  sConfigOC.OCPolarity = TIM_OCPOLARITY_HIGH;
  sConfigOC.OCNPolarity = TIM_OCNPOLARITY_HIGH;
  sConfigOC.OCFastMode = TIM_OCFAST_DISABLE;
  sConfigOC.OCIdleState = TIM_OCIDLESTATE_RESET;
  sConfigOC.OCNIdleState = TIM_OCNIDLESTATE_RESET;
  if (HAL_TIM_PWM_ConfigChannel(&htim8, &sConfigOC, TIM_CHANNEL_1) != HAL_OK)
  {
    Error_Handler();
  }
  if (HAL_TIM_PWM_ConfigChannel(&htim8, &sConfigOC, TIM_CHANNEL_2) != HAL_OK)
  {
    Error_Handler();
  }
  sBreakDeadTimeConfig.OffStateRunMode = TIM_OSSR_DISABLE;
  sBreakDeadTimeConfig.OffStateIDLEMode = TIM_OSSI_DISABLE;
  sBreakDeadTimeConfig.LockLevel = TIM_LOCKLEVEL_OFF;
  sBreakDeadTimeConfig.DeadTime = 0;
  sBreakDeadTimeConfig.BreakState = TIM_BREAK_DISABLE;
  sBreakDeadTimeConfig.BreakPolarity = TIM_BREAKPOLARITY_HIGH;
  sBreakDeadTimeConfig.AutomaticOutput = TIM_AUTOMATICOUTPUT_DISABLE;
  if (HAL_TIMEx_ConfigBreakDeadTime(&htim8, &sBreakDeadTimeConfig) != HAL_OK)
  {
    Error_Handler();
  }
  HAL_TIM_MspPostInit(&htim8);

}

static void MX_USART3_UART_Init(void)
{

  huart3.Instance = USART3;
  huart3.Init.BaudRate = 115200;
  huart3.Init.WordLength = UART_WORDLENGTH_8B;
  huart3.Init.StopBits = UART_STOPBITS_1;
  huart3.Init.Parity = UART_PARITY_NONE;
  huart3.Init.Mode = UART_MODE_TX_RX;
  huart3.Init.HwFlowCtl = UART_HWCONTROL_NONE;
  huart3.Init.OverSampling = UART_OVERSAMPLING_16;
  if (HAL_UART_Init(&huart3) != HAL_OK)
  {
    Error_Handler();
  }

}

static void MX_DMA_Init(void)
{

  /* DMA controller clock enable */
  __HAL_RCC_DMA2_CLK_ENABLE();

  /* DMA interrupt init */
  /* DMA2_Stream0_IRQn interrupt configuration */
  HAL_NVIC_SetPriority(DMA2_Stream0_IRQn, 5, 0);
  HAL_NVIC_EnableIRQ(DMA2_Stream0_IRQn);

}

static void MX_GPIO_Init(void)
{
  GPIO_InitTypeDef GPIO_InitStruct = {0};

  /* GPIO Ports Clock Enable */
  __HAL_RCC_GPIOE_CLK_ENABLE();
  __HAL_RCC_GPIOH_CLK_ENABLE();
  __HAL_RCC_GPIOA_CLK_ENABLE();
  __HAL_RCC_GPIOC_CLK_ENABLE();
  __HAL_RCC_GPIOD_CLK_ENABLE();
  __HAL_RCC_GPIOB_CLK_ENABLE();

  /*Configure GPIO pin Output Level */
  HAL_GPIO_WritePin(GPIOE, OLED_SCL_Pin|OLED_SDA_Pin|OLED_RST_Pin|OLED_DC_Pin
                          |LED3_Pin|GPIO_PIN_11, GPIO_PIN_RESET);

  /*Configure GPIO pin Output Level */
  HAL_GPIO_WritePin(GPIOA, AIN2_Pin|AIN1_Pin|BIN1_Pin|BIN2_Pin
                          |GPIO_PIN_8, GPIO_PIN_RESET);

  /*Configure GPIO pins : OLED_SCL_Pin OLED_SDA_Pin OLED_RST_Pin OLED_DC_Pin
                           LED3_Pin */
  GPIO_InitStruct.Pin = OLED_SCL_Pin|OLED_SDA_Pin|OLED_RST_Pin|OLED_DC_Pin
                          |LED3_Pin;
  GPIO_InitStruct.Mode = GPIO_MODE_OUTPUT_PP;
  GPIO_InitStruct.Pull = GPIO_NOPULL;
  GPIO_InitStruct.Speed = GPIO_SPEED_FREQ_LOW;
  HAL_GPIO_Init(GPIOE, &GPIO_InitStruct);

  /*Configure GPIO pins : AIN2_Pin AIN1_Pin BIN1_Pin BIN2_Pin
                           PA8 */
  GPIO_InitStruct.Pin = AIN2_Pin|AIN1_Pin|BIN1_Pin|BIN2_Pin
                          |GPIO_PIN_8;
  GPIO_InitStruct.Mode = GPIO_MODE_OUTPUT_PP;
  GPIO_InitStruct.Pull = GPIO_NOPULL;
  GPIO_InitStruct.Speed = GPIO_SPEED_FREQ_HIGH;
  HAL_GPIO_Init(GPIOA, &GPIO_InitStruct);

  /*Configure GPIO pin : PE11 */
  GPIO_InitStruct.Pin = GPIO_PIN_11;
  GPIO_InitStruct.Mode = GPIO_MODE_OUTPUT_PP;
  GPIO_InitStruct.Pull = GPIO_NOPULL;
  GPIO_InitStruct.Speed = GPIO_SPEED_FREQ_VERY_HIGH;
  HAL_GPIO_Init(GPIOE, &GPIO_InitStruct);

  /*Configure GPIO pin : IRsensor_Pin */
  GPIO_InitStruct.Pin = IRsensor_Pin;
  GPIO_InitStruct.Mode = GPIO_MODE_INPUT;
  GPIO_InitStruct.Pull = GPIO_NOPULL;
  HAL_GPIO_Init(IRsensor_GPIO_Port, &GPIO_InitStruct);

  /*Configure GPIO pin : Echo_Pin */
  GPIO_InitStruct.Pin = Echo_Pin;
  GPIO_InitStruct.Mode = GPIO_MODE_INPUT;
  GPIO_InitStruct.Pull = GPIO_NOPULL;
  HAL_GPIO_Init(Echo_GPIO_Port, &GPIO_InitStruct);

}

/* USER CODE BEGIN 4 */

char direction;
int sensor_flag = 0;
int edgeCount = 0;

uint32_t t1;
uint32_t t2;
int magnitude;
int sensorDistanceL = 0;
int distanceA;
int distanceB;
int sensorDistanceR = 0;
int batteryLevel = 0;

uint32_t IC_Val1 = 0;
uint32_t IC_Val2 = 0;
uint32_t Difference = 0;
uint8_t Is_First_Captured = 0;  // is the first value captured ?

#define TRIG_PIN GPIO_PIN_11
#define TRIG_PORT GPIOE

// Callback Function

void HAL_TIM_IC_CaptureCallback(TIM_HandleTypeDef *htim)
{
	if (htim->Channel == HAL_TIM_ACTIVE_CHANNEL_1)  // if the interrupt source is channel1
	{
		if (Is_First_Captured==0) // if the first value is not captured
		{
			IC_Val1 = HAL_TIM_ReadCapturedValue(htim, TIM_CHANNEL_1); // read the first value
			Is_First_Captured = 1;  // set the first captured as true
			// Now change the polarity to falling edge
			__HAL_TIM_SET_CAPTUREPOLARITY(htim, TIM_CHANNEL_1, TIM_INPUTCHANNELPOLARITY_FALLING);
		}

		else if (Is_First_Captured==1)   // if the first is already captured
		{
			IC_Val2 = HAL_TIM_ReadCapturedValue(htim, TIM_CHANNEL_1);  // read second value
			__HAL_TIM_SET_COUNTER(htim, 0);  // reset the counter

			if (IC_Val2 > IC_Val1)
			{
				Difference = IC_Val2-IC_Val1;
			}

			else if (IC_Val1 > IC_Val2)
			{
				Difference = (0xffff - IC_Val1) + IC_Val2;
			}

			us_dist = Difference * .034/2;
			Is_First_Captured = 0; // set it back to false

			// set polarity to rising edge
			__HAL_TIM_SET_CAPTUREPOLARITY(htim, TIM_CHANNEL_1, TIM_INPUTCHANNELPOLARITY_RISING);
			__HAL_TIM_DISABLE_IT(&htim4, TIM_IT_CC1);
		}
	}
}

//Echo Pin

void delay(uint16_t time)
{
	__HAL_TIM_SET_COUNTER(&htim4, 0);
	while(__HAL_TIM_GET_COUNTER(&htim4) < time);
}

void HCSR04_Read(void)
{
	HAL_GPIO_WritePin(TRIG_PORT, TRIG_PIN, GPIO_PIN_SET);  // pull the TRIG pin HIGH
	osDelay(1);  // wait for 10 us
	HAL_GPIO_WritePin(TRIG_PORT, TRIG_PIN, GPIO_PIN_RESET);  // pull the TRIG pin low
	__HAL_TIM_ENABLE_IT(&htim4, TIM_IT_CC1); // Enable Interrupt
}

void HAL_UART_RxCpltCallback(UART_HandleTypeDef *huart){
	UNUSED(huart);

	HAL_UART_Transmit(&huart3, (uint8_t *) &aRxBuffer[0], 4, 0xFFFF);

	if(flag == 0){
		direction = (char) aRxBuffer[0];
		magnitude = (int)(aRxBuffer[1] - '0')*100 + (int)((char)aRxBuffer[2] - '0')*10 + (int)(aRxBuffer[3] - '0');
		flag = 1;
	}

	HAL_UART_Receive_IT(&huart3, (uint8_t *) aRxBuffer, 4);

}

void HAL_ADC_ConvCpltCallback(ADC_HandleTypeDef* hadc){
//	if(hadc == &hadc1){
//	lengthFront = 0;
//
//
//	for(int i = 0; i< 4096; i++){
//
//			lengthFront += distanceFront[i];
//
//
//	}
//
//	lengthFront = lengthFront/4096.0;
//	}
//
//	if(hadc == &hadc2){
//		lengthSide = 0;
//		for(int i = 0; i < 4096; i++){
//			lengthSide += distanceSide[i];
//		}
//
//		lengthSide = lengthSide/4096.0;
//	}

}

/* USER CODE END 4 */

void StartDefaultTask(void *argument)
{

	htim1.Instance -> CCR4 = 150;

  for(;;)
  {

	  HCSR04_Read();

	  HAL_ADC_Start(&hadc1);
	  HAL_ADC_PollForConversion(&hadc1, 10);
	  ir1 = HAL_ADC_GetValue(&hadc1);
	  ir1_dist = roundf(-14.16*log(ir1)+122.67);
	  HAL_ADC_Stop(&hadc1);

	  sprintf(hello,"IR Dist:%dcm",ir1_dist);
	  OLED_ShowString(10,20,hello);

	  sprintf(yay, "US Dist:%dcm",us_dist);
	  OLED_ShowString(10,30,yay);

	  sprintf(bye,"Travel:%dcm",travel);
	  OLED_ShowString(10,40,bye);

	  OLED_Refresh_Gram();
	  osDelay(5);

  }
  /* USER CODE END 5 */
}

void encoder_task(void *argument)
{
  /* USER CODE BEGIN encoder_task */
  /* Infinite loop */
	//motorLeft(90);

	while(1){

	if(flag){
//		gyroInit();
//		osDelay(100);
		if(direction == 'w'){
			global_angle = 0;
			motorForwardA(magnitude, 1);
		}

		if (direction == 'b'){
			global_angle = 0;
			motorBackA(magnitude);
		}

		if(direction == 'f'){
			global_angle = 0;
			motorForwardA(200,0);
			osDelay(500);
			motorBackA(22);

		}

		if(direction == 's'){
			dir = -1;
         	motorBack(magnitude);
		}

		if(direction == 'a'){
			global_angle = 0;
			motorLeft(magnitude);
		}

		if(direction == 'd'){
			global_angle = 0;
			motorRight(magnitude);
		}

		if(direction == 'q'){
			global_angle = 0;
			motorLeftB(magnitude);
		}

		if(direction == 'e'){
			global_angle = 0;
			motorRightB(magnitude);
		}

		if(direction == 'j'){
			// 1st obstacle left turn
			global_angle = 0;
			motorLeftB(55);
			motorRight(119);
			motorLeftB(28);
			backRight(28);
			motorForwardB(21,1);
			osDelay(200);
			motorBackA(25);
			osDelay(100);
			us_dist_obst = us_dist;
			if (us_dist_obst > 80)
			{
				motorForwardB(31,1);
			}
		}

		if(direction == 'k'){
			// 1st obstacle right turn
			global_angle = 0;
			motorRightB(54);
			motorLeft(119);
			motorRightB(25);
			backLeft(29);
			motorForwardB(21,1);
			osDelay(200);
			motorBackA(25);
			osDelay(100);
			us_dist_obst = us_dist;
			if (us_dist_obst > 80)
			{
				motorForwardB(31,1);
			}
		}

		if(direction == 'n'){

			// 2nd obstacle left turn
			global_angle = 0;
			motorForwardA(200,1);
			osDelay(100);
			motorBackA(30);
			motorLeftB(88);
			motorForwardA(10,0);
//			motorForwardA(40,0);
//			osDelay(100);
//			motorBackA(37);
			//motorRightB(209);
			motorRight(195);
			motorForwardB(55,1);
			//motorForwardA(60,0);
			//motorBackA(40);
			motorRightB(92);
			if (us_dist_obst > 50)
			{
				motorForwardB(us_dist_obst+80,1);
			}
			else
			{
				motorForwardB(us_dist_obst+57,1);
			}
			motorRightB(89);
			motorForwardB(10,1);
			motorLeftB(89);
			motorForwardA(150,0);
			osDelay(100);
			motorBackA(25);
			motorForwardB(11,1);

		}

		if(direction == 'm'){

			// 2nd obstacle right turn
			global_angle = 0;
			motorForwardA(150,1);
			osDelay(100);
			motorBackA(30);
			motorRightB(90);
			motorForwardA(10,0);
//			motorForwardA(40,0);
//			osDelay(100);
//			motorBackA(35);
			//motorLeftB(209);
			motorLeft(206);
			motorForwardB(55,1);
			//motorForwardA(60,0);
			//motorBackA(40);
			motorLeftB(88);
			if (us_dist_obst > 50)
			{
				motorForwardB(us_dist_obst+80,1);
			}
			else
			{
				motorForwardB(us_dist_obst+57,1);
			}
			motorLeftB(87);
			motorForwardB(10,1);
			motorRightB(90);
			motorForwardA(150,0);
			osDelay(100);
			motorBackA(25);
			motorForwardB(11,1);

		}

//		if(direction == 'o'){
//
//			global_angle = 0;
//			motorForwardB(20,1);
//			motorLeftB(89);
//			motorRightB(89);
//			motorForwardB(30,1);
//			motorRightB(90);
//			motorForwardA(50,1);
//
//		}
//
//		if(direction == 'p'){
//
//			global_angle = 0;
//			motorLeftC(90);
//			motorRightC(90);
//
//		}
//
//		if(direction == 'y'){
//
//			global_angle = 0;
//			motorForwardA(101,0);
//			motorLeftB(89);
//
//		}
//
//		if(direction == 't'){
//			progress = -1;
//		}

			magnitude = 0;
			flag = 0;
			//direction = 'x';
			uint8_t ch = '$';
			HAL_UART_Transmit(&huart3, (uint8_t *) &ch, 1, 0xFFFF);
		}
	osDelayUntil(200);
	}

}

void motorTask(void *argument)
{
  /* USER CODE BEGIN motorTask */

	int dirL;
	double prevErrorL = 0;
	double LInt = 0;

	int dirR;
	double prevErrorR = 0;
	double RInt = 0;

	int pwmA = 0;
	int pwmB = 0;

	uint8_t hello[20];

			int cnt2, diff;
			int cnt2b, diffb;
			cnt2 = 0;
			cnt2b = 0;

			uint32_t tick = 0;

  /* Infinite loop */
  for(;;)
  {

	  if(HAL_GetTick() - tick >= 10){
		  cnt2 = __HAL_TIM_GET_COUNTER(&htim2);
		  cnt2b =  __HAL_TIM_GET_COUNTER(&htim3);
	  		  	  		 if(cnt2 > 32000){
	  		  	  			 dirL = 1;

	  		  	  			  diff = (65536 - cnt2);

	  		  	  			  } else {
	  		  	  				  dirL = -1;

	  		  	  			  	 diff = cnt2;

	  		  	  		  }

	  		  			  if(cnt2b > 32000){
	  		  				  dirR = -1;

	  		  			  	  	diffb = (65536 - cnt2b);
	  		  			  } else {
	  		  				  dirR = 1;

	  		  			  	  	diffb = cnt2b;
	  		  			  }

                          if(dirR == dir){
	  		  			  total_distanceb += diffb;
                          } else {
                        	  total_distanceb -= diffb;
                          }

                          if(dirL == dir){
	  		  			  total_distancea += diff;
                          } else {
                        	  total_distancea -= diff;
                          }

	  		  			  //speedA = 60000*dirL*(diff/1320.0)/(double)(HAL_GetTick() - tick);
	  		  			  //speedB = 60000*dirR*(diffb/1320.0)/(double)(HAL_GetTick() - tick);
	  		  			  pwmA = motorOnA;
	  		  			  pwmB = motorOnB;

	  		  			  if(pwmA < 0) {
	  		  				  motorAReverse();
	  		  				  pwmA = -1*pwmA;
	  		  			  } else {
	  		  				  motorAForward();
	  		  			  }

	  		  			  if(pwmB < 0){
	  		  				  motorBReverse();
	  		  				  pwmB = -1*pwmB;
	  		  			  } else {
	  		  				  motorBForward();
	  		  			  }

	  		  			  if(pwmA >= 7000){
	  		  				  pwmA = 7000;
	  		  			  }

	  		  			  if(pwmB >= 7000){
	  		  				  pwmB = 7000;
	  		  			  }

	  		  			__HAL_TIM_SetCompare(&htim8, TIM_CHANNEL_1, pwmA);
	  		  			__HAL_TIM_SetCompare(&htim8, TIM_CHANNEL_2, pwmB);

	  		  			if(motorOnA == 0 && motorOnB == 0){
	  		  				//total_distancea = 0;
	  		  				//total_distanceb = 0;
	  		  				//total_angle = 0;

	  		  			}
	  			__HAL_TIM_SET_COUNTER(&htim2, 0);
	  			__HAL_TIM_SET_COUNTER(&htim3, 0);
	  			tick = HAL_GetTick();

	  }

	  osDelayUntil(10);
  }
  osDelay(1);
  /* USER CODE END motorTask */
}

void gyroTask(void *argument)
{
  /* USER CODE BEGIN gyroTask */
  /* Infinite loop */
	uint8_t val[2] = {0,0};

	char hello[20];
	int16_t angular_speed = 0;

	uint32_t tick = 0;
	gyroInit();
	int dir;
	int16_t offset = 0;

	tick = HAL_GetTick();
	osDelayUntil(10);

//	for(int i = 0; i < 3000; i++){
//		readByte(0x37, val);
//		angular_speed = val[0] << 8 | val[1];
//		offset += angular_speed;
//		//osDelayUntil(1);
//	}
//	offset = offset/3000.0f;

  for(;;)
  {

      osDelayUntil(10);

      if(HAL_GetTick() - tick >= 100){
	  readByte(0x37, val);
	  //osDelayUntil(1);
	  //angular_speed = ((int16_t)((int8_t)val[0]))*256 +  (uint16_t)val[1];
	  angular_speed = (val[0] << 8) | val[1];

	  // Default Value = 0.5
	  total_angle +=(double)(angular_speed + 1.5)*((HAL_GetTick() - tick)/16400.0)*1.16;

	  global_angle += (double)(angular_speed + 1.5)*((HAL_GetTick() - tick)/16400.0)*1.16;

	  //prevSpeed = angular_speed;
	  if(total_angle >= 720){
		  total_angle = 0;
	  }
	  if(total_angle <= -720){
		  total_angle = 0;
	  }

	  tick = HAL_GetTick();
      }

  }
  /* USER CODE END gyroTask */
}

void ultrasoundTask(void *argument)
{
  /* USER CODE BEGIN ultrasoundTask */
  /* Infinite loop */

	for(;;){

//		if(progress == -1){
//			gyroStart();
//			motorAForward();
//			motorBForward();
//			osDelayUntil(500);
//			progress = 0;
//			total_angle = 0;
//			total_distancea = 0;
//			total_distanceb = 0;
//
//			motorOnA = SPEED;
//			motorOnB = SPEED;
//
//		}

	}
  /* USER CODE END ultrasoundTask */
}

void HAL_TIM_PeriodElapsedCallback(TIM_HandleTypeDef *htim)
{
  if (htim->Instance == TIM6) {
    HAL_IncTick();
  }
}

void Error_Handler(void)
{
  __disable_irq();
  while (1)
  {
  }
}
